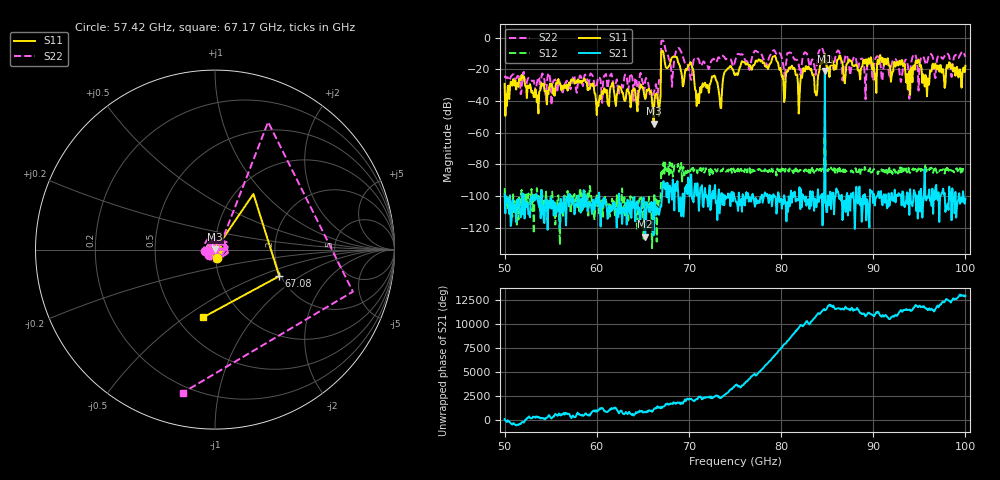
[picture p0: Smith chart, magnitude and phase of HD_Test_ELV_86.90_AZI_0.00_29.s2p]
! 11/25/2026 9:21:00 AM
! C:\ANRITSUVNA\TEMP\TEMP.S2P
! CHANNEL.1
! TR.MEASUREMENT
! RAW.DATA
# HZ S RI R 50.0
! FREQ.HZ  S11RE  S11IM  S21RE  S21IM  S12RE  S12IM  S22RE  S22IM
!; PortSelection: Port_12
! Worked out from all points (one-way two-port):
!   601 points, 50 GHz to 100 GHz, reference 50 ohm
!   highest |S21| = -21.11 dB at 84.75 GHz (marker M1); lowest = -125.9 dB at 65.25 GHz (marker M2)
!   lowest |S11| = -54.3 dB at 66.17 GHz (marker M3), VSWR 1.00, Z = 50.1 + j0.151 ohm
!   |S11| at or under -10 dB: start of sweep to 67 GHz; 67.24 GHz to end of sweep
!   |S22| runs from -42.6 to -1.8 dB; largest |S21 - S12| = 0.088
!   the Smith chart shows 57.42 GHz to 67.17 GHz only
!   S11 on the Smith chart (normalised r, x): 57.42 GHz: 1.02, -0.10; 67.08 GHz: 1.96, -0.68; 67.17 GHz: 0.67, -0.59
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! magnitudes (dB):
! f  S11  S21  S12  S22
! 50 GHz  -29.2  -98.8  -95.1  -25.4
! 57.42 GHz  -26.3  -101.4  -103.6  -25.2
! 58.42 GHz  -27.2  -107.3  -109.2  -29.0
! 60.17 GHz  -43.2  -106.6  -101.1  -24.8
! 65.25 GHz  -38.8  -125.9  -104.8  -27.5
! 66.17 GHz  -54.3  -124.9  -106.1  -35.4
! 66.67 GHz  -41.9  -108.2  -106.7  -32.1
! 67.08 GHz  -8.2  -99.1  -86.3  -1.9
! 67.17 GHz  -8.3  -91.6  -82.9  -1.8
! 70.17 GHz  -15.4  -90.6  -84.2  -25.7
! 70.92 GHz  -40.6  -91.9  -85.7  -13.3
! 75 GHz  -23.7  -101.6  -85.0  -15.0
! 79.25 GHz  -11.8  -100.3  -83.6  -7.9
! 80.25 GHz  -27.6  -105.1  -83.0  -17.7
! 83.42 GHz  -23.8  -97.1  -84.0  -13.8
! 83.83 GHz  -36.6  -107.2  -83.4  -19.5
! 84.75 GHz  -10.3  -21.1  -46.2  -11.7
! 91.67 GHz  -16.7  -98.4  -85.5  -20.5
! 93.75 GHz  -32.8  -105.2  -84.1  -17.3
! 94.83 GHz  -15.0  -114.3  -84.0  -20.3
! 95.83 GHz  -37.1  -100.5  -83.5  -15.9
! 100 GHz  -17.7  -101.8  -84.7  -12.2
